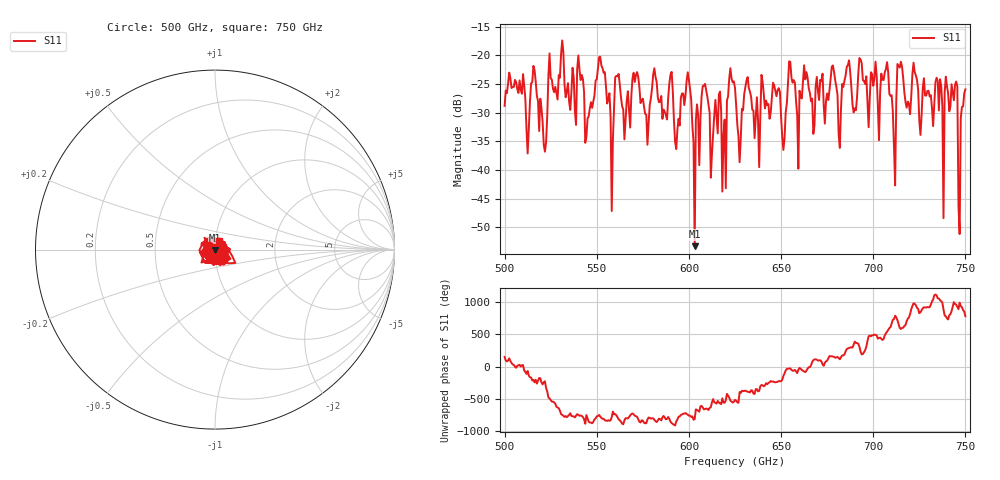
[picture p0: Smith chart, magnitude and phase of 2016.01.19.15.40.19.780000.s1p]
!Created with skrf (http://scikit-rf.org).
# GHz S RI R 50.0
!freq ReS11 ImS11
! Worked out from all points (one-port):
!   401 points, 500 GHz to 750 GHz, reference 50 ohm
!   lowest |S11| = -53.3 dB at 603.1 GHz (marker M1), VSWR 1.00, Z = 50 - j0.214 ohm
!   |S11| at or under -10 dB: start of sweep to end of sweep
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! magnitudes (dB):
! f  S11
! 500 GHz  -28.8
! 512.5 GHz  -37.1
! 515.6 GHz  -21.8
! 521.9 GHz  -36.8
! 531.2 GHz  -17.4
! 545 GHz  -31.0
! 551.9 GHz  -20.2
! 558.1 GHz  -47.2
! 562.5 GHz  -25.1
! 590 GHz  -23.4
! 593.8 GHz  -33.0
! 600 GHz  -24.3
! 603.1 GHz  -53.3
! 608.1 GHz  -25.3
! 618.8 GHz  -33.9
! 621.9 GHz  -24.0
! 625 GHz  -25.7
! 651.2 GHz  -36.5
! 656.2 GHz  -24.7
! 659.4 GHz  -39.8
! 687.5 GHz  -22.8
! 706.9 GHz  -22.4
! 711.2 GHz  -35.9
! 714.4 GHz  -22.1
! 718.8 GHz  -28.1
! 744.4 GHz  -25.1
! 747.5 GHz  -30.9
! 750 GHz  -25.9
